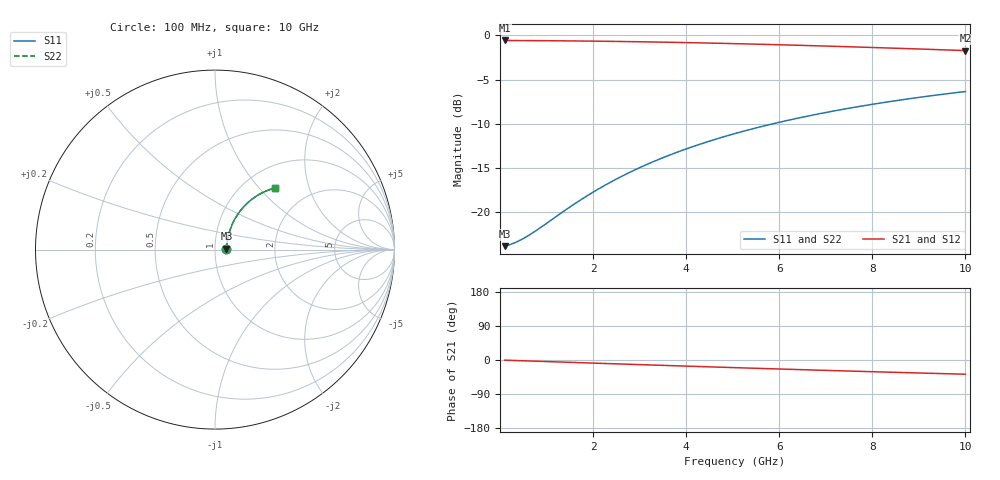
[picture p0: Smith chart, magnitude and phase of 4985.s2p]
# Hz S RI R 50.00
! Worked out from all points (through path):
!   100 points, 100 MHz to 10 GHz, reference 50 ohm
!   highest |S21| = -0.57 dB at 100 MHz (marker M1); lowest = -1.7 dB at 10 GHz (marker M2)
!   group delay of S21, straight-line fit = 10.5 ps
!   lowest |S11| = -23.9 dB at 100 MHz (marker M3), VSWR 1.14, Z = 56.8 + j0.591 ohm
!   |S11| at or under -10 dB: start of sweep to 5.867 GHz
!   |S22| runs from -23.9 to -6.4 dB; largest |S21 - S12| = 0
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1e8  0.064 0.00518  0.936 -0.00671  0.936 -0.00671  0.064 0.00518
3e8  0.065 0.0155  0.935 -0.0201  0.935 -0.0201  0.065 0.0155
4e8  0.0654 0.0206  0.9345 -0.0268  0.9345 -0.0268  0.0654 0.0206
6e8  0.0666 0.0309  0.9334 -0.0401  0.9334 -0.0401  0.0666 0.0309
8e8  0.0679 0.0411  0.932 -0.0534  0.932 -0.0534  0.0679 0.0411
1.5e9  0.0745 0.0764  0.9252 -0.0995  0.9252 -0.0995  0.0745 0.0764
1.8e9  0.0784 0.0913  0.9212 -0.119  0.9212 -0.119  0.0784 0.0913
2.2e9  0.0844 0.1107  0.915 -0.1445  0.915 -0.1445  0.0844 0.1107
2.6e9  0.0914 0.1297  0.9077 -0.1697  0.9077 -0.1697  0.0914 0.1297
3e9  0.0994 0.1481  0.8994 -0.1942  0.8994 -0.1942  0.0994 0.1481
3.4e9  0.1084 0.1659  0.8901 -0.2182  0.8901 -0.2182  0.1084 0.1659
3.8e9  0.1182 0.183  0.8799 -0.2415  0.8799 -0.2415  0.1182 0.183
4.2e9  0.1289 0.1995  0.8689 -0.2642  0.8689 -0.2642  0.1289 0.1995
4.6e9  0.1403 0.2151  0.857 -0.2861  0.857 -0.2861  0.1403 0.2151
5.1e9  0.1556 0.2336  0.8412 -0.3123  0.8412 -0.3123  0.1556 0.2336
5.5e9  0.1685 0.2475  0.8277 -0.3324  0.8277 -0.3324  0.1685 0.2475
5.9e9  0.182 0.2605  0.8137 -0.3516  0.8137 -0.3516  0.182 0.2605
6.7e9  0.2102 0.2839  0.7841 -0.3875  0.7841 -0.3875  0.2102 0.2839
7.5e9  0.2399 0.3038  0.753 -0.4199  0.753 -0.4199  0.2399 0.3038
8.4e9  0.2744 0.3219  0.7167 -0.4523  0.7167 -0.4523  0.2744 0.3219
9.2e9  0.3055 0.3345  0.6838 -0.4775  0.6838 -0.4775  0.3055 0.3345
1e10  0.3367 0.3438  0.6507 -0.4996  0.6507 -0.4996  0.3367 0.3438
